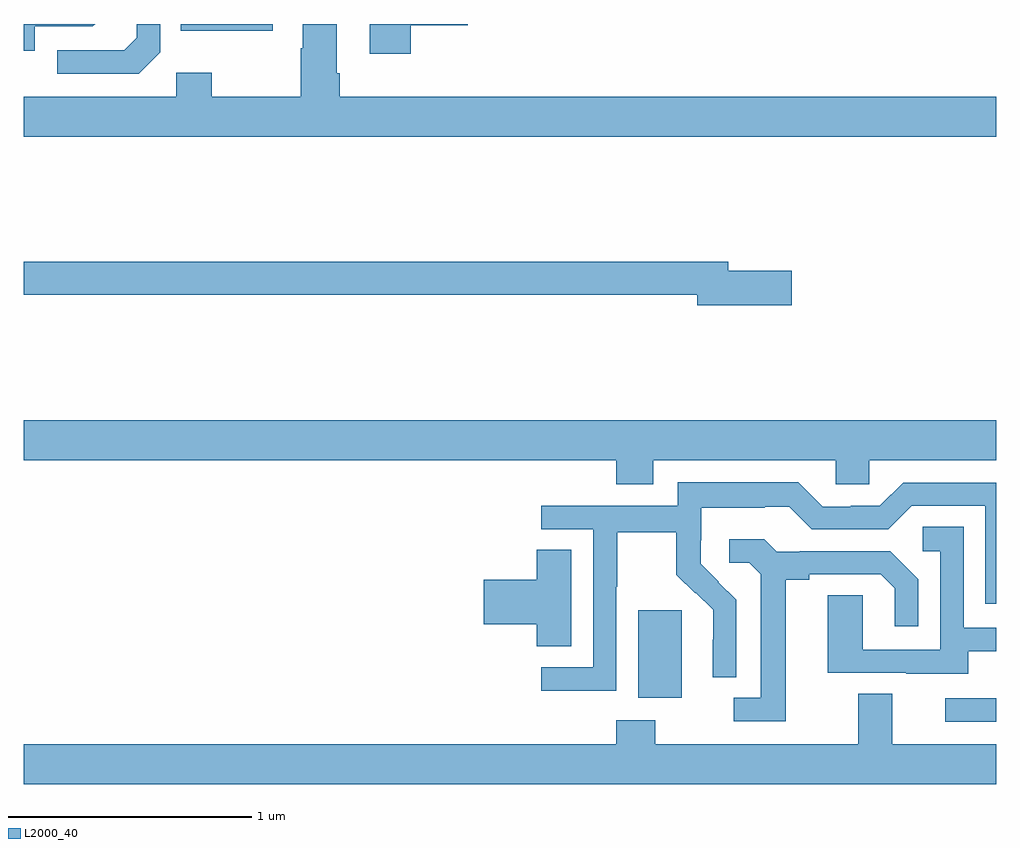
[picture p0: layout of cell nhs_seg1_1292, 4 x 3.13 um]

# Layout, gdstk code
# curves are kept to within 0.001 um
import gdstk
lib = gdstk.Library(unit=1e-6, precision=1e-09)
def R(c, l, rs):  # rectangles x0, y0, x1, y1
    for r in rs: c.add(gdstk.rectangle(r[:2], r[2:], *l))
def P(c, l, *ps):  # polygons
    for p in ps: c.add(gdstk.Polygon(p, *l))
L2000_40 = (2000, 40)

nhs_seg1_1292 = lib.new_cell('nhs_seg1_1292')
R(nhs_seg1_1292, L2000_40, [(184.791,545.328,185,545.424), (183.527,545.426,183.706,545.787), (181.645,548.171,182.023,548.199)])
P(nhs_seg1_1292, L2000_40, [(185,547.9),(182.3,547.9),(182.3,547.996),(182.287,547.996),(182.287,548.199),(182.147,548.199),(182.147,548.099),(182.14,548.099),(182.14,547.9),(181.773,547.9),(181.773,547.999),(181.626,547.999),(181.626,547.9),(181,547.9),(181,547.736),(185,547.736)],
  [(181.56,548.082),(181.56,548.199),(181.464,548.199),(181.464,548.142),(181.413,548.091),(181.137,548.091),(181.137,547.995),(181.473,547.995)],
  [(182.591,548.194),(182.827,548.194),(182.827,548.199),(182.423,548.199),(182.423,548.076),(182.591,548.076)],
  [(181.044,548.19),(181.284,548.19),(181.293,548.199),(181,548.199),(181,548.088),(181.044,548.088)],
  [(184.159,547.184),(183.898,547.184),(183.898,547.22),(181,547.22),(181,547.084),(183.77,547.084),(183.77,547.042),(184.159,547.042)],
  [(183.589,546.404),(184.341,546.404),(184.341,546.306),(184.479,546.306),(184.479,546.404),(185,546.404),(185,546.568),(181,546.568),(181,546.404),(183.437,546.404),(183.437,546.305),(183.589,546.305)],
  [(183.438,545.884),(183.441,545.884),(183.441,546.108),(183.685,546.108),(183.685,545.933),(183.762,545.856),(183.765,545.859),(183.836,545.789),(183.836,545.666),(183.834,545.666),(183.834,545.512),(183.93,545.512),(183.93,545.83),(183.784,545.978),(183.784,546.075),(183.786,546.075),(183.786,546.209),(184.049,546.209),(184.049,546.213),(184.149,546.213),(184.242,546.12),(184.557,546.12),(184.653,546.216),(184.956,546.216),(184.956,545.814),(185,545.814),(185,546.312),(184.617,546.312),(184.521,546.216),(184.403,546.216),(184.403,546.213),(184.287,546.213),(184.187,546.313),(183.69,546.313),(183.69,546.216),(183.129,546.216),(183.129,546.12),(183.342,546.12),(183.342,545.553),(183.129,545.553),(183.129,545.455),(183.438,545.455)],
  [(184.885,545.619),(185,545.619),(185,545.715),(184.866,545.715),(184.866,546.131),(184.698,546.131),(184.698,546.03),(184.77,546.03),(184.77,545.625),(184.452,545.625),(184.452,545.849),(184.307,545.849),(184.307,545.529),(184.631,545.529),(184.631,545.525),(184.885,545.525)],
  [(184.135,545.912),(184.231,545.912),(184.231,545.934),(184.526,545.934),(184.583,545.877),(184.583,545.721),(184.68,545.721),(184.68,545.914),(184.564,546.03),(184.192,546.03),(184.192,546.027),(184.098,546.027),(184.046,546.079),(183.903,546.079),(183.903,545.982),(183.984,545.982),(184.031,545.935),(184.031,545.427),(183.921,545.427),(183.921,545.331),(184.135,545.331)],
  [(183.253,546.035),(183.11,546.035),(183.11,545.912),(182.892,545.912),(182.892,545.729),(183.11,545.729),(183.11,545.638),(183.253,545.638)],
  [(185,545.236),(184.573,545.236),(184.573,545.444),(184.433,545.444),(184.433,545.236),(183.597,545.236),(183.597,545.335),(183.437,545.335),(183.437,545.236),(181,545.236),(181,545.072),(185,545.072)])

lib.write_gds('nhs_seg1_1292.gds')
